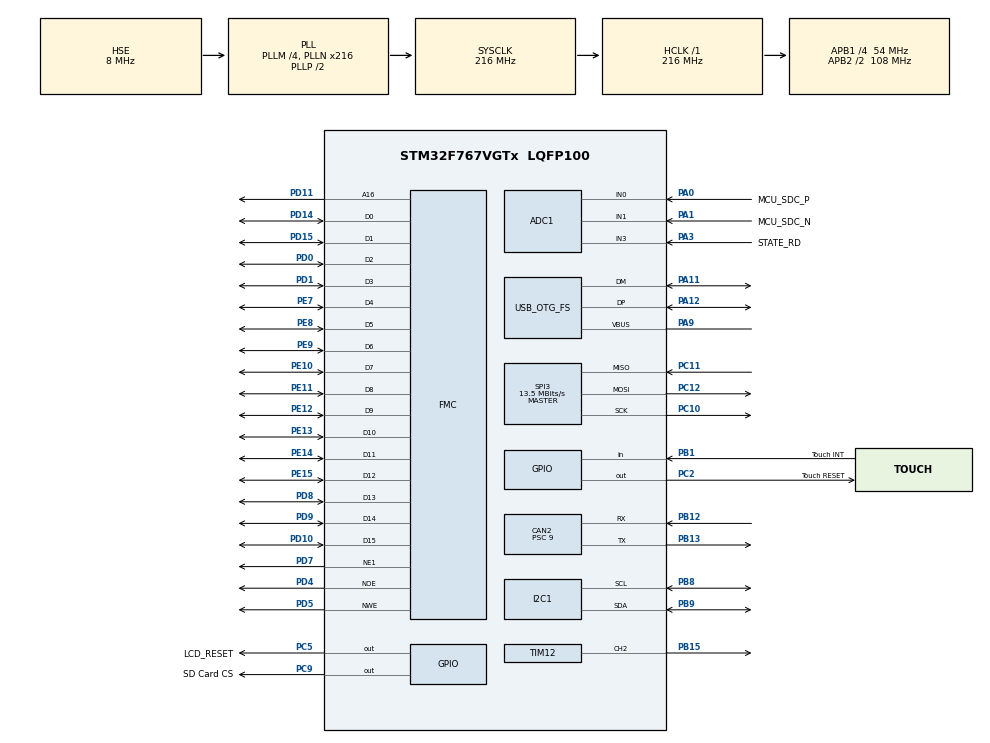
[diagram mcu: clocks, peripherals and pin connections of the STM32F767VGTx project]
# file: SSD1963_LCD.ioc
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ADC1.Channel-0\#ChannelRegularConversion=ADC_CHANNEL_1
ADC1.NbrOfConversionFlag=1
ADC1.Rank-0\#ChannelRegularConversion=1
ADC1.SamplingTime-0\#ChannelRegularConversion=ADC_SAMPLETIME_3CYCLES
ADC1.master=1
CAN2.BS1=CAN_BS1_9TQ
CAN2.BS2=CAN_BS2_2TQ
CAN2.CalculateBaudRate=499999
CAN2.CalculateTimeBit=2000
CAN2.CalculateTimeQuantum=166.66666666666669
CAN2.Prescaler=9
CORTEX_M7.AccessPermission_S-Cortex_Memory_Protection_Unit_Region1_Settings_S=MPU_REGION_FULL_ACCESS
CORTEX_M7.AccessPermission_Spec=MPU_REGION_PRIV_RW
CORTEX_M7.BaseAddress_S-Cortex_Memory_Protection_Unit_Region1_Settings_S=0x60000000
CORTEX_M7.DisableExec_S-Cortex_Memory_Protection_Unit_Region1_Settings_S=MPU_INSTRUCTION_ACCESS_DISABLE
CORTEX_M7.DisableExec_Spec=MPU_INSTRUCTION_ACCESS_ENABLE
CORTEX_M7.Enable_S-Cortex_Memory_Protection_Unit_Region1_Settings_S=MPU_REGION_ENABLE
CORTEX_M7.IsShareable_S-Cortex_Memory_Protection_Unit_Region1_Settings_S=MPU_ACCESS_SHAREABLE
CORTEX_M7.Size_S-Cortex_Memory_Protection_Unit_Region1_Settings_S=MPU_REGION_SIZE_8MB
CORTEX_M7.default_mode_Activation=1
FATFS._USE_LFN=1
FMC.AddressSetupTime1=2
FMC.DataSetupTime1=10
FMC.ExtendedMode1=FMC_EXTENDED_MODE_DISABLE
I2C1.Timing=0x20404768
Mcu.Family=STM32F7
Mcu.Name=STM32F767VGTx
Mcu.Package=LQFP100
NVIC.CAN2_RX0_IRQn=true\:0\:0\:false\:false\:true\:true\:true\:true
NVIC.CAN2_RX1_IRQn=true\:0\:0\:false\:false\:true\:true\:true\:true
NVIC.CAN2_TX_IRQn=true\:0\:0\:false\:false\:true\:true\:true\:true
NVIC.OTG_FS_IRQn=true\:0\:0\:false\:false\:true\:false\:true\:true
NVIC.PriorityGroup=NVIC_PRIORITYGROUP_4
PA0/WKUP.GPIO_Label=MCU_SDC_P
PA0/WKUP.Signal=ADCx_IN0
PA1.GPIO_Label=MCU_SDC_N
PA1.Signal=ADCx_IN1
PA11.Mode=Device_Only
PA11.Signal=USB_OTG_FS_DM
PA12.Mode=Device_Only
PA12.Signal=USB_OTG_FS_DP
PA13.Signal=SYS_JTMS-SWDIO
PA14.Signal=SYS_JTCK-SWCLK
PA3.GPIO_Label=STATE_RD
PA3.Signal=ADCx_IN3
PA9.Mode=Activate_VBUS
PA9.Signal=USB_OTG_FS_VBUS
PB1.GPIO_Label=Touch INT
PB1.Signal=GPIO_Input
PB12.Mode=CAN_Activate
PB12.Signal=CAN2_RX
PB13.Mode=CAN_Activate
PB13.Signal=CAN2_TX
PB15.Signal=S_TIM12_CH2
PB8.Mode=I2C
PB8.Signal=I2C1_SCL
PB9.Mode=I2C
PB9.Signal=I2C1_SDA
PC10.Mode=Full_Duplex_Master
PC10.Signal=SPI3_SCK
PC11.Mode=Full_Duplex_Master
PC11.Signal=SPI3_MISO
PC12.Mode=Full_Duplex_Master
PC12.Signal=SPI3_MOSI
PC2.GPIO_Label=Touch RESET
PC2.PinState=GPIO_PIN_SET
PC2.Signal=GPIO_Output
PC5.GPIO_Label=LCD_RESET
PC5.PinState=GPIO_PIN_SET
PC5.Signal=GPIO_Output
PC9.GPIO_Label=SD Card CS
PC9.PinState=GPIO_PIN_SET
PC9.Signal=GPIO_Output
PD0.Signal=FMC_D2_DA2
PD1.Signal=FMC_D3_DA3
PD10.Signal=FMC_D15_DA15
PD11.Signal=FMC_A16_CLE
PD14.Signal=FMC_D0_DA0
PD15.Signal=FMC_D1_DA1
PD4.Signal=FMC_NOE
PD5.Signal=FMC_NWE
PD7.Mode=NorPsramChipSelect1_1
PD7.Signal=FMC_NE1
PD8.Signal=FMC_D13_DA13
PD9.Signal=FMC_D14_DA14
PE10.Signal=FMC_D7_DA7
PE11.Signal=FMC_D8_DA8
PE12.Signal=FMC_D9_DA9
PE13.Signal=FMC_D10_DA10
PE14.Signal=FMC_D11_DA11
PE15.Signal=FMC_D12_DA12
PE7.Signal=FMC_D4_DA4
PE8.Signal=FMC_D5_DA5
PE9.Signal=FMC_D6_DA6
PH0/OSC_IN.Mode=HSE-External-Oscillator
PH0/OSC_IN.Signal=RCC_OSC_IN
PH1/OSC_OUT.Mode=HSE-External-Oscillator
PH1/OSC_OUT.Signal=RCC_OSC_OUT
ProjectManager.HeapSize=0x2000
ProjectManager.StackSize=0x2000
ProjectManager.TargetToolchain=CMake
RCC.AHBFreq_Value=216000000
RCC.APB1CLKDivider=RCC_HCLK_DIV4
RCC.APB1Freq_Value=54000000
RCC.APB1TimFreq_Value=108000000
RCC.APB2CLKDivider=RCC_HCLK_DIV2
RCC.APB2Freq_Value=108000000
RCC.APB2TimFreq_Value=216000000
RCC.CortexFreq_Value=216000000
RCC.HCLKFreq_Value=216000000
RCC.HSE_VALUE=8000000
RCC.HSI_VALUE=16000000
RCC.LSE_VALUE=32768
RCC.PLLM=4
RCC.PLLN=216
RCC.PLLQ=9
RCC.SYSCLKFreq_VALUE=216000000
RCC.SYSCLKSource=RCC_SYSCLKSOURCE_PLLCLK
RCC.USBFreq_Value=48000000
RCC.VCOOutputFreq_Value=432000000
SH.ADCx_IN0.0=ADC1_IN0,IN0
SH.ADCx_IN1.0=ADC1_IN1,IN1
SH.ADCx_IN3.0=ADC1_IN3,IN3
SH.FMC_A16_CLE.0=FMC_A16,A16_1
SH.FMC_D0_DA0.0=FMC_D0,16b-d1
SH.FMC_D10_DA10.0=FMC_D10,16b-d1
SH.FMC_D11_DA11.0=FMC_D11,16b-d1
SH.FMC_D12_DA12.0=FMC_D12,16b-d1
SH.FMC_D13_DA13.0=FMC_D13,16b-d1
SH.FMC_D14_DA14.0=FMC_D14,16b-d1
SH.FMC_D15_DA15.0=FMC_D15,16b-d1
SH.FMC_D1_DA1.0=FMC_D1,16b-d1
SH.FMC_D2_DA2.0=FMC_D2,16b-d1
SH.FMC_D3_DA3.0=FMC_D3,16b-d1
SH.FMC_D4_DA4.0=FMC_D4,16b-d1
SH.FMC_D5_DA5.0=FMC_D5,16b-d1
SH.FMC_D6_DA6.0=FMC_D6,16b-d1
SH.FMC_D7_DA7.0=FMC_D7,16b-d1
SH.FMC_D8_DA8.0=FMC_D8,16b-d1
SH.FMC_D9_DA9.0=FMC_D9,16b-d1
SH.FMC_NOE.0=FMC_NOE,Lcd1
SH.FMC_NWE.0=FMC_NWE,Lcd1
SH.S_TIM12_CH2.0=TIM12_CH2,PWM Generation2 CH2
SPI3.BaudRatePrescaler=SPI_BAUDRATEPRESCALER_4
SPI3.CalculateBaudRate=13.5 MBits/s
SPI3.DataSize=SPI_DATASIZE_8BIT
SPI3.Direction=SPI_DIRECTION_2LINES
SPI3.Mode=SPI_MODE_MASTER
SPI3.NSSPMode=SPI_NSS_PULSE_DISABLE
SPI3.VirtualType=VM_MASTER
TIM12.Channel-PWM\ Generation2\ CH2=TIM_CHANNEL_2
USB_DEVICE.CLASS_NAME_FS=CDC
USB_DEVICE.USBD_LPM_ENABLED-CDC_FS=0
USB_DEVICE.USBD_SELF_POWERED-CDC_FS=0
USB_DEVICE.VirtualMode-CDC_FS=Cdc
USB_DEVICE.VirtualModeFS=Cdc_FS
USB_OTG_FS.VirtualMode=Device_Only
VP_FATFS_VS_Generic.Mode=User_defined
VP_USB_DEVICE_VS_USB_DEVICE_CDC_FS.Mode=CDC_FS
board=custom

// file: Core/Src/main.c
/* USER CODE BEGIN Header */
  /**
    ******************************************************************************
    * @file           : main.c
    * @brief          : Main program body
    ******************************************************************************
    * @attention
    *
    * Copyright (c) 2026 STMicroelectronics.
    * All rights reserved.
    *
    * This software is licensed under terms that can be found in the LICENSE file
    * in the root directory of this software component.
    * If no LICENSE file comes with this software, it is provided AS-IS.
    *
    ******************************************************************************
    */
/* USER CODE END Header */
#include "main.h"
#include "adc.h"
#include "can.h"
#include "fatfs.h"
#include "i2c.h"
#include "spi.h"
#include "tim.h"
#include "usb_device.h"
#include "gpio.h"
#include "fmc.h"

/* USER CODE BEGIN Includes */
  #include <string.h>
  #include "gfx.h"
  #include "ssd1963.h"
  #include "gt911.h" //touchscreen

  #include "dashboard/endurance_dashboard.h"
  #include "dashboard/pedal_graph_dashboard.h"
  #include "dashboard/dashboard_tests.h"

  //sd card
  #include "sd_card.h"
  #include "fatfs.h"
  #include "ff.h"

  //Logos
  #include "logos/ugr_logo.h"

  //USB
  #include "usbd_core.h"
  extern USBD_HandleTypeDef hUsbDeviceFS;

/* USER CODE END Includes */

/* USER CODE BEGIN PTD */

//USB REQUESTS

typedef enum {
    SCREEN_REQ_NONE = 0,
    SCREEN_REQ_LOGO,
    SCREEN_REQ_ENDURANCE,
    SCREEN_REQ_PEDAL
} ScreenRequest;

static volatile uint8_t g_enter_dfu_requested = 0;
static volatile uint8_t g_screen_change_requested = 0;
static volatile ScreenRequest g_requested_screen = SCREEN_REQ_NONE;

void Request_EnterDfu(void)
{
    g_enter_dfu_requested = 1;
}

void Request_LogoScreen(void)
{
    g_requested_screen = SCREEN_REQ_LOGO;
    g_screen_change_requested = 1;
}

void Request_EnduranceScreen(void)
{
    g_requested_screen = SCREEN_REQ_ENDURANCE;
    g_screen_change_requested = 1;
}

void Request_PedalScreen(void)
{
    g_requested_screen = SCREEN_REQ_PEDAL;
    g_screen_change_requested = 1;
}

/* USER CODE END PFP */

/* USER CODE END PTD */

/* USER CODE BEGIN PM */
    const char *fr_str(FRESULT fr)
    {
        switch (fr)
        {
            case FR_OK: return "FR_OK";
            case FR_DISK_ERR: return "FR_DISK_ERR";
            case FR_INT_ERR: return "FR_INT_ERR";
            case FR_NOT_READY: return "FR_NOT_READY";
            case FR_NO_FILE: return "FR_NO_FILE";
            case FR_NO_PATH: return "FR_NO_PATH";
            case FR_INVALID_NAME: return "FR_INVALID_NAME";
            case FR_DENIED: return "FR_DENIED";
            case FR_EXIST: return "FR_EXIST";
            case FR_INVALID_OBJECT: return "FR_INVALID_OBJECT";
            case FR_WRITE_PROTECTED: return "FR_WRITE_PROTECTED";
            case FR_INVALID_DRIVE: return "FR_INVALID_DRIVE";
            case FR_NOT_ENABLED: return "FR_NOT_ENABLED";
            case FR_NO_FILESYSTEM: return "FR_NO_FILESYSTEM";
            case FR_MKFS_ABORTED: return "FR_MKFS_ABORTED";
            case FR_TIMEOUT: return "FR_TIMEOUT";
            case FR_LOCKED: return "FR_LOCKED";
            case FR_NOT_ENOUGH_CORE: return "FR_NOT_ENOUGH_CORE";
            case FR_TOO_MANY_OPEN_FILES: return "FR_TOO_MANY_OPEN_FILES";
            case FR_INVALID_PARAMETER: return "FR_INVALID_PARAMETER";
            default: return "FR_UNKNOWN";
        }
    }
/* USER CODE END PM */

/* USER CODE BEGIN PV */
  #define SCREEN_TEST_MODE 1 //Set to 1 to have the screen keep incrementing all values to test

  #if SCREEN_TEST_MODE
    static DashboardTestSim dashboard_test_sim;
    #endif

  #define CAN_ID_DASHBOARD      0x100
  #define CAN_DASHBOARD_DLC     5 //Length of data

  #define DASH_IDX_BATTERY      0
  #define DASH_IDX_CELL_TEMP    1
  #define DASH_IDX_WATER_TEMP   2
  #define DASH_IDX_SPEED_L      3
  #define DASH_IDX_SPEED_H      4

    /*
    ===========================================
    CAN message format (ID 0x100):
    byte0 = battery_charge
    byte1 = cell_temperature
    byte2 = water_temperature
    byte3 = speed low byte
    byte4 = speed high byte
    ===========================================
    */

  #define CAN2_RX_QUEUE_SIZE 16

  #define LCD_BRIGHTNESS 10 // adjust as needed (0-100%)

  #define TOUCH_COOLDOWN_MS 250

  typedef struct
  {
      CAN_RxHeaderTypeDef hdr;
      uint8_t data[8];
  } CAN2_RxMessage;

static Dashboard d = {
    .lap = 0,
    .battery_charge = 0,
    .cell_temperature = 0,
    .water_temperature = 0, //obsolete
    .speed = 0,
    .throttle_percent = 0,
    .brake_percent = 0
};

enum Screen_State {
    ENDURANCE,
    PEDAL,
    LOGO
};

//==================STARTING STATE==============
static enum Screen_State screen_state = ENDURANCE;
static volatile uint8_t screen_updated = 0;
static volatile uint8_t updated = 0;

static uint8_t last_touch = 0;
static uint32_t next_touch_allowed = 0;
static GT911_State touch;
static uint8_t touch_ok = 0;

  static volatile uint8_t can2_rx_head = 0;
  static volatile uint8_t can2_rx_tail = 0;
  static volatile uint8_t can2_rx_overflow = 0;

  static CAN2_RxMessage can2_rx_queue[CAN2_RX_QUEUE_SIZE];
  static uint8_t CAN2_RxQueue_Pop(CAN2_RxMessage *msg);
  static uint8_t CAN2_RxQueue_Push(const CAN_RxHeaderTypeDef *hdr, const uint8_t *data);
  void CAN2_Start(void);

  //LCD Brightness control using TIM12 CH2 PWM on PB15
  static inline void LCD_SetBrightness(uint8_t percent)
  {
      if (percent > 100) percent = 100;

      uint32_t arr = __HAL_TIM_GET_AUTORELOAD(&htim12);
      __HAL_TIM_SET_COMPARE(&htim12, TIM_CHANNEL_2, (arr * percent) / 100);
  }

  //ADC VOLTAGE DIVIDERS:
  #define ADC_MAX_COUNTS          4095U   // 12-bit ADC

  // Adjust these thresholds to match your resistor divider / expected voltages
  // Example values for 3.3V ADC:
  // 1.0V -> about 1241 counts
  // 2.0V -> about 2482 counts
  #define STATE_RD_TH_LOW         1241U
  #define STATE_RD_TH_HIGH        2482U

  // CAN message for SDC / state report
  #define CAN_ID_SDC_STATE        0x101
  #define CAN_SDC_STATE_DLC       4

  typedef enum
  {
      STATE_RD_LEVEL_0 = 0,
      STATE_RD_LEVEL_1 = 1,
      STATE_RD_LEVEL_2 = 2
  } StateRdLevel;

  static uint8_t sdc_first_sample_done = 0;
  static StateRdLevel last_state_rd_level = 0xFF;
  static uint16_t last_mcu_sdc_minus = 0xFFFF;
  static uint16_t last_mcu_sdc_plus  = 0xFFFF;

/* USER CODE END PV */

void SystemClock_Config(void);
static void MPU_Config(void);
/* USER CODE BEGIN PFP */

static uint16_t ADC1_ReadChannel(uint32_t channel);
static StateRdLevel GetStateRdLevel(uint16_t adc_value);
static void ApplyScreenFromStateRd(StateRdLevel level);
static void CAN2_SendSdcState(uint16_t sdc_minus, uint16_t sdc_plus);

static void JumpToSystemBootloader(void);
void Request_EnterDfu(void);
void Request_LogoScreen(void);
void Request_EnduranceScreen(void);
void Request_PedalScreen(void);

/* USER CODE END PFP */

int main(void)
{

  /* MPU Configuration--------------------------------------------------------*/
  MPU_Config();

  /* MCU Configuration--------------------------------------------------------*/

  /* Reset of all peripherals, Initializes the Flash interface and the Systick. */
  HAL_Init();

  /* Configure the system clock */
  SystemClock_Config();

  /* Initialize all configured peripherals */
  MX_GPIO_Init();
  MX_FMC_Init();
  MX_CAN2_Init();
  MX_I2C1_Init();
  MX_SPI3_Init();
  MX_TIM12_Init();
  MX_FATFS_Init();
  MX_USB_DEVICE_Init();
  MX_ADC1_Init();
  /* USER CODE BEGIN 2 */

    // Initialize GT911 touchscreen
    touch_ok = (GT911_Init(&hi2c1) == HAL_OK) ? 1 : 0;

    //CAN INIT
    CAN2_Start();
    __enable_irq();

    // Start backlight PWM (your external brightness control on PB15)
    HAL_TIM_PWM_Start(&htim12, TIM_CHANNEL_2);
    LCD_SetBrightness(LCD_BRIGHTNESS); // adjust as needed (0-100%)

    //Main LOGO screen initialization
    SSD1963_Init();
    SSD1963_Fill(RGB565(0, 0, 0));

    //DRAW BIG UGR LOGO FROM SD CARD IF PRESENT
    if (f_mount(&USERFatFS, USERPath, 1) == FR_OK)
    {
        draw_big_UGR_logo();
        HAL_Delay(2000);
        screen_state = PEDAL;
        screen_updated = 1;
    }

  /* USER CODE END 2 */

  /* Infinite loop */
  /* USER CODE BEGIN WHILE */

    while (1)
    {
        /*
        //=========================================================
        //=================TOUCH SCREEN WHILE PART=================
        //=========================================================

        if (touch_ok)
        {
            if (GT911_ReadState(&touch) == HAL_OK)
            {
                if (touch.touched && !last_touch)
                {
                    uint32_t now = HAL_GetTick();

                    if (now >= next_touch_allowed)
                    {
                        UI_Area a = (screen_state == ENDURANCE)
                                ? dash_get_area(DASH_AREA_SMALL_LOGO)
                                : dash_get_area(DASH_AREA_BIG_LOGO);

                        uint16_t tx = touch.x;
                        uint16_t ty = touch.y;

                        if (tx >= a.x1 && tx <= a.x2 &&
                            ty >= a.y1 && ty <= a.y2)
                        {
                            screen_state = (screen_state == ENDURANCE) ? LOGO : ENDURANCE;
                            SSD1963_Fill(RGB565(0, 0, 0));

                            if (screen_state == ENDURANCE)
                            {
                                dash_init(d.battery_charge,
                                        d.cell_temperature,
                                        d.water_temperature,
                                        d.speed);
                            }
                            else
                            {
                                //draw_big_UGR_logo();
                            }

                            screen_updated = 1;
                            next_touch_allowed = now + TOUCH_COOLDOWN_MS;
                        }
                    }
                }

                last_touch = touch.touched;
            }
        }
        */

        //==================================================================
        //========GO TO BOOTLOADER OR SWITCH SCREEN FROM USB INPUT==========
        //==================================================================

        if (g_enter_dfu_requested)
        {
            g_enter_dfu_requested = 0;
            HAL_Delay(20);
            JumpToSystemBootloader();
        }

        if (g_screen_change_requested)
        {
            ScreenRequest req;

            __disable_irq();
            req = g_requested_screen;
            g_requested_screen = SCREEN_REQ_NONE;
            g_screen_change_requested = 0;
            __enable_irq();

            SSD1963_Fill(RGB565(0, 0, 0));

            switch (req)
            {
                case SCREEN_REQ_LOGO:
                    screen_state = LOGO;
                    draw_big_UGR_logo();
                    screen_updated = 0;
                    break;

                case SCREEN_REQ_ENDURANCE:
                    screen_state = ENDURANCE;
                    endurance_dash_init(
                        d.battery_charge,
                        d.cell_temperature,
                        d.lap,
                        d.speed);
                    updated = 1;
                    break;

                case SCREEN_REQ_PEDAL:
                    screen_state = PEDAL;
                    pedal_graph_dash_init(
                        d.battery_charge,
                        d.cell_temperature,
                        d.lap,
                        d.speed);
                    updated = 1;
                    break;

                case SCREEN_REQ_NONE:
                default:
                    break;
            }
        }

        //==================================================================
        //================ ADC INPUT PROCESSING SECTION ====================
        //==================================================================
        {
            static uint32_t last_adc_sample_ms = 0;

            if (HAL_GetTick() - last_adc_sample_ms >= 50)
            {
                last_adc_sample_ms = HAL_GetTick();

                uint16_t sdc_p_adc    = ADC1_ReadChannel(ADC_CHANNEL_0); // PA0 = MCU_SDC_P
                uint16_t sdc_n_adc    = ADC1_ReadChannel(ADC_CHANNEL_1); // PA1 = MCU_SDC_N
                uint16_t state_rd_adc = ADC1_ReadChannel(ADC_CHANNEL_3); // PA3 = STATE_RD

                StateRdLevel state_level = GetStateRdLevel(state_rd_adc);

                // STATE_RD drives the selected screen, same style as USB requests
                ApplyScreenFromStateRd(state_level);

                // Send CAN only when SDC readings change
                if (!sdc_first_sample_done ||
                    sdc_p_adc != last_mcu_sdc_plus ||
                    sdc_n_adc != last_mcu_sdc_minus)
                {
                    CAN2_SendSdcState(sdc_n_adc, sdc_p_adc);

                    last_mcu_sdc_plus = sdc_p_adc;
                    last_mcu_sdc_minus = sdc_n_adc;
                    sdc_first_sample_done = 1;
                }
            }
        }

        //==================================================================
        //=================State machine for screen updates=================
        //==================================================================

        switch(screen_state)
        {
            case ENDURANCE:

                if (updated) {
                    updated = 0;
                    endurance_dash_update(&d);
                }

                break;

            case PEDAL:

                if (updated) {
                    updated = 0;
                    pedal_graph_dash_update(&d);
                }

                break;

            case LOGO:
                if (screen_updated) {
                    screen_updated = 0;
                    draw_big_UGR_logo();
                }

                break;
        }

        //==================================================================
        //=================CAN RX SECTION - IMPORTANT!!!!!!=================
        //==================================================================

        CAN2_RxMessage msg;
        uint8_t has_msg;

        do
        {
            __disable_irq();
            has_msg = CAN2_RxQueue_Pop(&msg);
            __enable_irq();

            if (has_msg)
            {
                if (msg.hdr.IDE == CAN_ID_STD && msg.hdr.StdId == CAN_ID_DASHBOARD)
                {
                    if (msg.hdr.DLC >= CAN_DASHBOARD_DLC) {
                        d.battery_charge    = msg.data[DASH_IDX_BATTERY];
                        d.cell_temperature  = msg.data[DASH_IDX_CELL_TEMP];
                        d.water_temperature = msg.data[DASH_IDX_WATER_TEMP];
                        d.speed = (uint16_t)msg.data[DASH_IDX_SPEED_L] |
                                ((uint16_t)msg.data[DASH_IDX_SPEED_H] << 8);
                        updated = 1;
                    }
                }
            }

        } while (has_msg);

        //==================================================================
        //==========THIS ONLY RUNS IF TESTING THE SCREEN'S WIDGETS==========
        //==================================================================

        #if SCREEN_TEST_MODE
        static uint32_t last_screen_test = 0;

        if (HAL_GetTick() - last_screen_test >= 20)
        {
            last_screen_test = HAL_GetTick();

            dashboard_test_sim_step(&dashboard_test_sim, &d, last_screen_test);

            updated = 1;
        }
        #endif

        //End of WHILE LOOP
        HAL_Delay(1);

    }

    /* USER CODE END WHILE */

}

void SystemClock_Config(void)
{
  RCC_OscInitTypeDef RCC_OscInitStruct = {0};
  RCC_ClkInitTypeDef RCC_ClkInitStruct = {0};

  /** Configure the main internal regulator output voltage
  */
  __HAL_RCC_PWR_CLK_ENABLE();
  __HAL_PWR_VOLTAGESCALING_CONFIG(PWR_REGULATOR_VOLTAGE_SCALE1);

  /** Initializes the RCC Oscillators according to the specified parameters
  * in the RCC_OscInitTypeDef structure.
  */
  RCC_OscInitStruct.OscillatorType = RCC_OSCILLATORTYPE_HSE;
  RCC_OscInitStruct.HSEState = RCC_HSE_ON;
  RCC_OscInitStruct.PLL.PLLState = RCC_PLL_ON;
  RCC_OscInitStruct.PLL.PLLSource = RCC_PLLSOURCE_HSE;
  RCC_OscInitStruct.PLL.PLLM = 4;
  RCC_OscInitStruct.PLL.PLLN = 216;
  RCC_OscInitStruct.PLL.PLLP = RCC_PLLP_DIV2;
  RCC_OscInitStruct.PLL.PLLQ = 9;
  RCC_OscInitStruct.PLL.PLLR = 2;
  if (HAL_RCC_OscConfig(&RCC_OscInitStruct) != HAL_OK)
  {
    Error_Handler();
  }

  /** Activate the Over-Drive mode
  */
  if (HAL_PWREx_EnableOverDrive() != HAL_OK)
  {
    Error_Handler();
  }

  /** Initializes the CPU, AHB and APB buses clocks
  */
  RCC_ClkInitStruct.ClockType = RCC_CLOCKTYPE_HCLK|RCC_CLOCKTYPE_SYSCLK
                              |RCC_CLOCKTYPE_PCLK1|RCC_CLOCKTYPE_PCLK2;
  RCC_ClkInitStruct.SYSCLKSource = RCC_SYSCLKSOURCE_PLLCLK;
  RCC_ClkInitStruct.AHBCLKDivider = RCC_SYSCLK_DIV1;
  RCC_ClkInitStruct.APB1CLKDivider = RCC_HCLK_DIV4;
  RCC_ClkInitStruct.APB2CLKDivider = RCC_HCLK_DIV2;

  if (HAL_RCC_ClockConfig(&RCC_ClkInitStruct, FLASH_LATENCY_7) != HAL_OK)
  {
    Error_Handler();
  }
}

/* USER CODE BEGIN 4 */

static void JumpToSystemBootloader(void)
{
    void (*SysMemBootJump)(void);
    uint32_t sysmem_addr = 0x1FF00000U;   // verify for your exact STM32F767 variant

    __disable_irq();

    USBD_Stop(&hUsbDeviceFS);
    USBD_DeInit(&hUsbDeviceFS);

    HAL_RCC_DeInit();
    HAL_DeInit();

    SysTick->CTRL = 0;
    SysTick->LOAD = 0;
    SysTick->VAL  = 0;

    for (uint32_t i = 0; i < 8; i++) {
        NVIC->ICER[i] = 0xFFFFFFFF;
        NVIC->ICPR[i] = 0xFFFFFFFF;
    }

    __HAL_RCC_SYSCFG_CLK_ENABLE();
    SYSCFG->MEMRMP = SYSCFG_MEMRMP_MEM_BOOT;

    __DSB();
    __ISB();

    __set_MSP(*(volatile uint32_t *)sysmem_addr);
    SysMemBootJump = (void (*)(void))(*(volatile uint32_t *)(sysmem_addr + 4U));
    SysMemBootJump();

    while (1) {
    }
}

static uint16_t ADC1_ReadChannel(uint32_t channel)
{
    ADC_ChannelConfTypeDef sConfig = {0};

    sConfig.Channel = channel;
    sConfig.Rank = 1;
    sConfig.SamplingTime = ADC_SAMPLETIME_480CYCLES;
#if defined(ADC_SINGLE_ENDED)
    sConfig.SingleDiff = ADC_SINGLE_ENDED;
    sConfig.OffsetNumber = ADC_OFFSET_NONE;
    sConfig.Offset = 0;
#endif

    if (HAL_ADC_ConfigChannel(&hadc1, &sConfig) != HAL_OK)
    {
        Error_Handler();
    }

    if (HAL_ADC_Start(&hadc1) != HAL_OK)
    {
        Error_Handler();
    }

    if (HAL_ADC_PollForConversion(&hadc1, 10) != HAL_OK)
    {
        HAL_ADC_Stop(&hadc1);
        Error_Handler();
    }

    uint16_t value = (uint16_t)HAL_ADC_GetValue(&hadc1);

    HAL_ADC_Stop(&hadc1);

    return value;
}

static StateRdLevel GetStateRdLevel(uint16_t adc_value)
{
    if (adc_value < STATE_RD_TH_LOW)
    {
        return STATE_RD_LEVEL_0;
    }
    else if (adc_value < STATE_RD_TH_HIGH)
    {
        return STATE_RD_LEVEL_1;
    }
    else
    {
        return STATE_RD_LEVEL_2;
    }
}

static void ApplyScreenFromStateRd(StateRdLevel level)
{
    if (level == last_state_rd_level)
    {
        return;
    }

    last_state_rd_level = level;

    switch (level)
    {
        case STATE_RD_LEVEL_0:
            g_requested_screen = SCREEN_REQ_LOGO;
            g_screen_change_requested = 1;
            break;

        case STATE_RD_LEVEL_1:
            g_requested_screen = SCREEN_REQ_ENDURANCE;
            g_screen_change_requested = 1;
            break;

        case STATE_RD_LEVEL_2:
        default:
            g_requested_screen = SCREEN_REQ_PEDAL;
            g_screen_change_requested = 1;
            break;
    }
}

//SEND SDC STATE
static void CAN2_SendSdcState(uint16_t sdc_minus, uint16_t sdc_plus)
{
    CAN_TxHeaderTypeDef txHeader;
    uint32_t txMailbox;
    uint8_t txData[8] = {0};

    txHeader.StdId = CAN_ID_SDC_STATE;
    txHeader.ExtId = 0;
    txHeader.IDE = CAN_ID_STD;
    txHeader.RTR = CAN_RTR_DATA;
    txHeader.DLC = CAN_SDC_STATE_DLC;
    txHeader.TransmitGlobalTime = DISABLE;

    txData[0] = (uint8_t)(sdc_minus & 0xFF);
    txData[1] = (uint8_t)((sdc_minus >> 8) & 0xFF);
    txData[2] = (uint8_t)(sdc_plus & 0xFF);
    txData[3] = (uint8_t)((sdc_plus >> 8) & 0xFF);

    HAL_CAN_AddTxMessage(&hcan2, &txHeader, txData, &txMailbox);
}

void CAN2_Start(void)
{
    CAN_FilterTypeDef f;
    memset(&f, 0, sizeof(f));

    f.FilterActivation     = ENABLE;
    f.FilterMode           = CAN_FILTERMODE_IDMASK;
    f.FilterScale          = CAN_FILTERSCALE_32BIT;
    f.FilterFIFOAssignment = CAN_RX_FIFO0;
    f.FilterBank           = 14;
    f.SlaveStartFilterBank = 14;

    // Standard ID exact match for 0x100
    f.FilterIdHigh         = (CAN_ID_DASHBOARD << 5);
    f.FilterIdLow          = 0x0000;
    f.FilterMaskIdHigh     = (0x7FF << 5); // All 11 bits of the ID matter (7FF is 0111 1111 1111)
    f.FilterMaskIdLow      = 0x0000;

    if (HAL_CAN_ConfigFilter(&hcan2, &f) != HAL_OK)
        Error_Handler();

    if (HAL_CAN_Start(&hcan2) != HAL_OK)
        Error_Handler();

    if (HAL_CAN_ActivateNotification(&hcan2, CAN_IT_RX_FIFO0_MSG_PENDING) != HAL_OK)
        Error_Handler();
}

  void HAL_CAN_RxFifo0MsgPendingCallback(CAN_HandleTypeDef *hcan)
  {
      if (hcan->Instance != CAN2) return;

      CAN_RxHeaderTypeDef rxh;
      uint8_t data[8];

      while (HAL_CAN_GetRxFifoFillLevel(hcan, CAN_RX_FIFO0) > 0)
      {
          if (HAL_CAN_GetRxMessage(hcan, CAN_RX_FIFO0, &rxh, data) != HAL_OK) {
              return;
          }

          CAN2_RxQueue_Push(&rxh, data);
      }
  }

  static uint8_t CAN2_RxQueue_Push(const CAN_RxHeaderTypeDef *hdr, const uint8_t *data)
  {
      uint8_t next = (uint8_t)((can2_rx_head + 1) % CAN2_RX_QUEUE_SIZE);

      if (next == can2_rx_tail) {
          can2_rx_overflow = 1;   // queue full
          return 0;
      }

      can2_rx_queue[can2_rx_head].hdr = *hdr;
      for (int i = 0; i < 8; i++) {
          can2_rx_queue[can2_rx_head].data[i] = data[i];
      }

      can2_rx_head = next;
      return 1;
  }

  static uint8_t CAN2_RxQueue_Pop(CAN2_RxMessage *msg)
  {
      if (can2_rx_head == can2_rx_tail) {
          return 0;   // empty
      }

      *msg = can2_rx_queue[can2_rx_tail];
      can2_rx_tail = (uint8_t)((can2_rx_tail + 1) % CAN2_RX_QUEUE_SIZE);
      return 1;
  }

/* USER CODE END 4 */

 /* MPU Configuration */

void MPU_Config(void)
{
  MPU_Region_InitTypeDef MPU_InitStruct = {0};

  /* Disables the MPU */
  HAL_MPU_Disable();

  /** Initializes and configures the Region and the memory to be protected
  */
  MPU_InitStruct.Enable = MPU_REGION_ENABLE;
  MPU_InitStruct.Number = MPU_REGION_NUMBER0;
  MPU_InitStruct.BaseAddress = 0x0;
  MPU_InitStruct.Size = MPU_REGION_SIZE_4GB;
  MPU_InitStruct.SubRegionDisable = 0x87;
  MPU_InitStruct.TypeExtField = MPU_TEX_LEVEL0;
  MPU_InitStruct.AccessPermission = MPU_REGION_PRIV_RW;
  MPU_InitStruct.DisableExec = MPU_INSTRUCTION_ACCESS_ENABLE;
  MPU_InitStruct.IsShareable = MPU_ACCESS_SHAREABLE;
  MPU_InitStruct.IsCacheable = MPU_ACCESS_NOT_CACHEABLE;
  MPU_InitStruct.IsBufferable = MPU_ACCESS_NOT_BUFFERABLE;

  HAL_MPU_ConfigRegion(&MPU_InitStruct);

  /** Initializes and configures the Region and the memory to be protected
  */
  MPU_InitStruct.Number = MPU_REGION_NUMBER1;
  MPU_InitStruct.BaseAddress = 0x60000000;
  MPU_InitStruct.Size = MPU_REGION_SIZE_8MB;
  MPU_InitStruct.SubRegionDisable = 0x0;
  MPU_InitStruct.AccessPermission = MPU_REGION_FULL_ACCESS;
  MPU_InitStruct.DisableExec = MPU_INSTRUCTION_ACCESS_DISABLE;

  HAL_MPU_ConfigRegion(&MPU_InitStruct);
  /* Enables the MPU */
  HAL_MPU_Enable(MPU_PRIVILEGED_DEFAULT);

}

void Error_Handler(void)
{
    __disable_irq();
    while (1)
    {
    }
}
